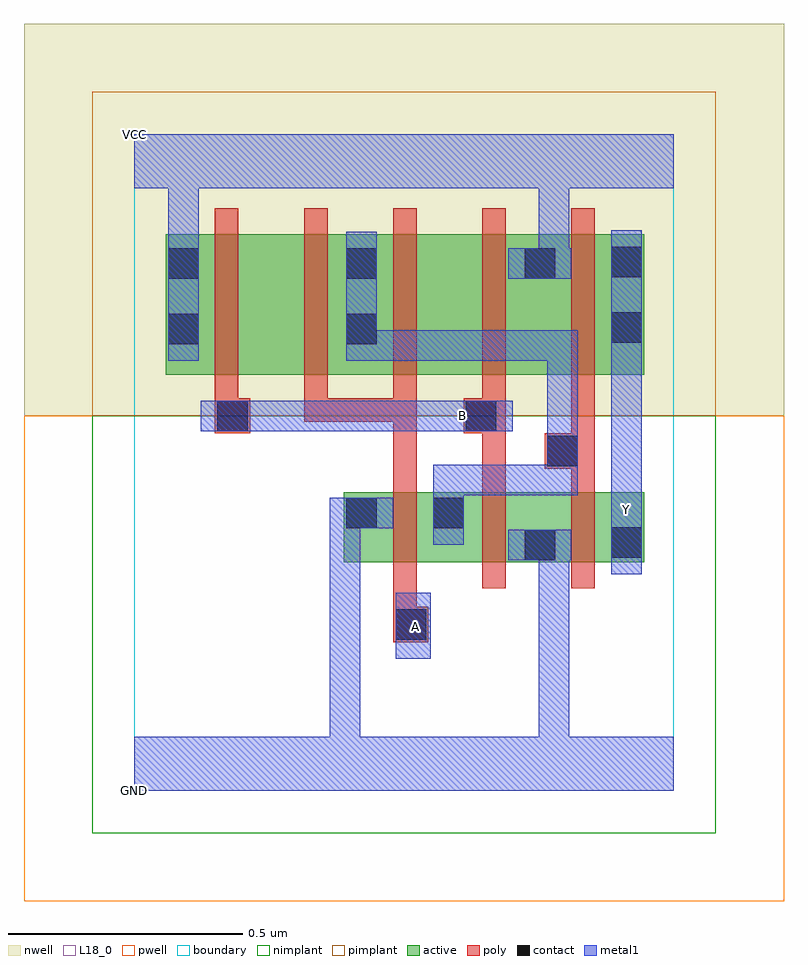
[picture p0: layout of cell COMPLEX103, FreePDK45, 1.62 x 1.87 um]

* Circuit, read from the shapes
.subckt COMPLEX103 A B GND VCC Y
M1 n1 A GND VSUBS nfet w=0.15u l=0.05u
M2 GND B n1 VSUBS nfet w=0.15u l=0.05u
M3 Y n1 GND VSUBS nfet w=0.15u l=0.05u
M4 n2 B VCC n3 pfet w=0.3u l=0.05u
M5 n1 A n2 n3 pfet w=0.3u l=0.05u
M6 n4 A n1 n3 pfet w=0.3u l=0.05u
M7 VCC B n4 n3 pfet w=0.3u l=0.05u
M8 Y n1 VCC n3 pfet w=0.3u l=0.05u
.ends

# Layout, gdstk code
import gdstk
lib = gdstk.Library(unit=1e-6, precision=1e-09)
def R(c, l, rs):  # rectangles x0, y0, x1, y1
    for r in rs: c.add(gdstk.rectangle(r[:2], r[2:], *l))
def A(c, l, x, y, w, h, nx, ny, dx, dy):  # array of equal rectangles
    R(c, l, [(x+i*dx, y+j*dy, x+i*dx+w, y+j*dy+h) for i in range(nx) for j in range(ny)])
active = (1, 0)
pwell = (2, 0)
nwell = (3, 0)
nimplant = (4, 0)
pimplant = (5, 0)
poly = (9, 0)
contact = (10, 0)
metal1 = (11, 0)
L18_0 = (18, 0)
boundary = (235, 0)

complex103 = lib.new_cell('COMPLEX103')
R(complex103, active, [(0.447,0.487,0.522,0.637), (0.447,0.487,0.707,0.637), (0.632,0.487,0.902,0.637), (0.632,0.487,0.707,0.63), (0.827,0.487,1.087,0.637), (0.827,0.487,0.902,0.562), (1.012,0.487,1.087,0.637), (0.067,0.887,0.292,1.187), (0.067,0.887,0.142,1.187), (0.292,0.887,0.522,1.187), (0.447,0.887,0.672,1.187), (0.672,0.887,0.902,1.187), (0.827,0.887,1.087,1.187), (1.012,0.887,1.087,1.165), (0.447,0.947,0.522,1.165), (0.827,1.007,0.902,1.187)])
R(complex103, pwell, [(-0.235,-0.235,1.385,0.8)])
R(complex103, nwell, [(-0.235,0.8,1.385,1.635)])
R(complex103, nimplant, [(-0.09,-0.09,1.24,0.8)])
R(complex103, pimplant, [(-0.09,0.8,1.24,1.49)])
A(complex103, poly, 0.552, 0.432, 0.05, 0.26, 3, 1, 0.19, 0)
A(complex103, poly, 0.172, 0.787, 0.05, 0.095, 4, 1, 0.19, 0)
A(complex103, poly, 0.172, 0.832, 0.05, 0.41, 5, 1, 0.19, 0)
R(complex103, poly, [(0.552,0.317,0.627,0.392), (0.552,0.342,0.602,0.482), (0.552,0.642,0.602,0.837), (0.742,0.642,0.792,0.812), (0.932,0.642,0.982,0.737), (0.875,0.687,0.982,0.762), (0.932,0.712,0.982,0.882), (0.172,0.762,0.247,0.837), (0.702,0.762,0.792,0.837), (0.362,0.787,0.412,0.837), (0.362,0.787,0.602,0.837), (0.552,0.787,0.602,0.837), (0.552,0.787,0.602,0.837), (0.552,0.787,0.602,0.837)])
A(complex103, contact, 0.072, 1.092, 0.065, 0.065, 3, 1, 0.38, 0)
R(complex103, contact, [(0.557,0.322,0.622,0.387), (0.832,0.492,0.897,0.557), (1.017,0.497,1.082,0.562), (0.452,0.56,0.517,0.625), (0.637,0.56,0.702,0.625), (0.88,0.692,0.945,0.757), (0.177,0.767,0.242,0.832), (0.707,0.767,0.772,0.832), (0.072,0.952,0.137,1.017), (0.452,0.952,0.517,1.017), (1.017,0.955,1.082,1.02), (1.017,1.095,1.082,1.16)])
R(complex103, metal1, [(0,0,1.15,0.115), (0.417,0.05,0.482,0.115), (0.417,0.05,0.482,0.115), (0.417,0.05,0.482,0.115), (0.417,0.05,0.482,0.115), (0.417,0.05,0.482,0.115), (0.417,0.05,0.482,0.115), (0.417,0.05,0.482,0.115), (0.417,0.05,0.482,0.115), (0.417,0.05,0.482,0.625), (0.862,0.05,0.927,0.115), (0.862,0.05,0.927,0.115), (0.862,0.05,0.927,0.115), (0.862,0.05,0.927,0.115), (0.862,0.05,0.927,0.115), (0.862,0.05,0.927,0.115), (0.862,0.05,0.927,0.115), (0.862,0.05,0.927,0.115), (0.862,0.05,0.927,0.557), (0.557,0.282,0.632,0.422), (1.017,0.462,1.082,0.597), (0.797,0.492,0.932,0.557), (0.637,0.525,0.702,0.66), (1.017,0.532,1.082,0.597), (1.017,0.532,1.082,0.667), (0.417,0.56,0.552,0.625), (0.637,0.595,0.702,0.66), (0.637,0.595,0.702,0.695), (1.017,0.602,1.082,0.985), (0.637,0.63,0.945,0.695), (0.88,0.63,0.945,0.695), (0.88,0.63,0.945,0.722), (0.88,0.657,0.945,0.722), (0.88,0.657,0.945,0.722), (0.88,0.657,0.945,0.792), (0.88,0.657,0.945,0.982), (0.142,0.767,0.277,0.832), (0.212,0.767,0.277,0.832), (0.212,0.767,0.277,0.832), (0.212,0.767,0.415,0.832), (0.35,0.767,0.415,0.832), (0.35,0.767,0.415,0.832), (0.35,0.767,0.415,0.832), (0.35,0.767,0.552,0.832), (0.487,0.767,0.552,0.832), (0.487,0.767,0.697,0.832), (0.632,0.767,0.697,0.832), (0.632,0.767,0.697,0.832), (0.632,0.767,0.807,0.832), (0.072,0.917,0.137,1.192), (0.452,0.917,0.517,1.192), (0.452,0.917,0.552,0.982), (0.487,0.917,0.552,0.982), (0.487,0.917,0.72,0.982), (0.655,0.917,0.72,0.982), (0.655,0.917,0.72,0.982), (0.655,0.917,0.72,0.982), (0.655,0.917,0.945,0.982), (0.88,0.917,0.945,0.982), (1.017,0.92,1.082,1.195), (0.797,1.092,0.932,1.157), (0.862,1.092,0.927,1.35), (0.072,1.127,0.137,1.192), (0.072,1.127,0.137,1.192), (0.072,1.127,0.137,1.35), (0,1.285,1.15,1.4), (0.862,1.285,0.927,1.35), (0.862,1.285,0.927,1.35)])
R(complex103, L18_0, [(0,0,1.15,0.115), (0.417,0.05,0.482,0.115), (0.417,0.05,0.482,0.115), (0.417,0.05,0.482,0.115), (0.417,0.05,0.482,0.115), (0.417,0.05,0.482,0.115), (0.417,0.05,0.482,0.115), (0.417,0.05,0.482,0.115), (0.417,0.05,0.482,0.115), (0.417,0.05,0.482,0.625), (0.862,0.05,0.927,0.115), (0.862,0.05,0.927,0.115), (0.862,0.05,0.927,0.115), (0.862,0.05,0.927,0.115), (0.862,0.05,0.927,0.115), (0.862,0.05,0.927,0.115), (0.862,0.05,0.927,0.115), (0.862,0.05,0.927,0.115), (0.862,0.05,0.927,0.557), (0.557,0.282,0.632,0.422), (0.567,0.317,0.632,0.382), (1.017,0.462,1.082,0.597), (0.797,0.492,0.932,0.557), (1.017,0.532,1.082,0.597), (1.017,0.532,1.082,0.667), (0.417,0.56,0.552,0.625), (1.017,0.567,1.082,0.632), (1.017,0.602,1.082,0.985), (0.142,0.767,0.277,0.832), (0.212,0.767,0.277,0.832), (0.212,0.767,0.277,0.832), (0.212,0.767,0.415,0.832), (0.35,0.767,0.415,0.832), (0.35,0.767,0.415,0.832), (0.35,0.767,0.415,0.832), (0.35,0.767,0.552,0.832), (0.487,0.767,0.552,0.832), (0.487,0.767,0.697,0.832), (0.632,0.767,0.697,0.832), (0.632,0.767,0.697,0.832), (0.632,0.767,0.807,0.832), (0.667,0.767,0.732,0.832), (0.072,0.917,0.137,1.192), (1.017,0.92,1.082,1.195), (0.797,1.092,0.932,1.157), (0.862,1.092,0.927,1.35), (0.072,1.127,0.137,1.192), (0.072,1.127,0.137,1.192), (0.072,1.127,0.137,1.35), (0,1.285,1.15,1.4), (0.862,1.285,0.927,1.35), (0.862,1.285,0.927,1.35)])
R(complex103, boundary, [(0,0,1.15,1.4)])
complex103.add(gdstk.Label('A', (0.6,0.35), layer=11, texttype=0))
complex103.add(gdstk.Label('B', (0.7,0.8), layer=11, texttype=0))
complex103.add(gdstk.Label('Y', (1.05,0.6), layer=11, texttype=0))
complex103.add(gdstk.Label('VCC', (0,1.4), layer=11, texttype=0))
complex103.add(gdstk.Label('GND', (0,0), layer=11, texttype=0))

lib.write_gds('COMPLEX103.gds')
